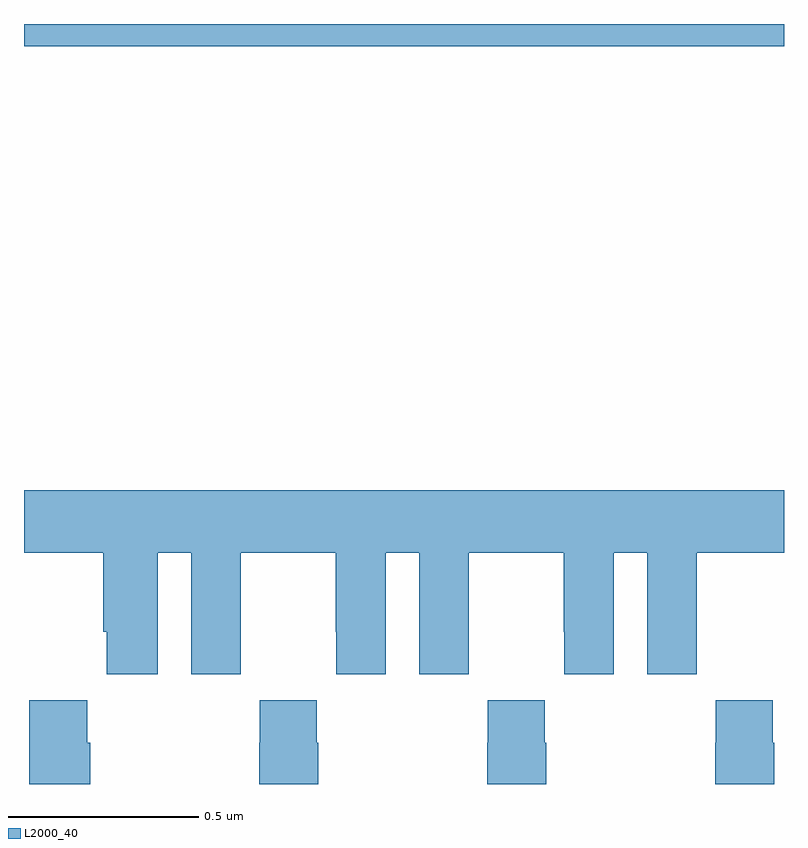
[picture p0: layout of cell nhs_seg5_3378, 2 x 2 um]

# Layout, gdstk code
import gdstk
lib = gdstk.Library(unit=1e-6, precision=1e-09)
def R(c, l, rs):  # rectangles x0, y0, x1, y1
    for r in rs: c.add(gdstk.rectangle(r[:2], r[2:], *l))
def P(c, l, *ps):  # polygons
    for p in ps: c.add(gdstk.Polygon(p, *l))
L2000_40 = (2000, 40)

nhs_seg5_3378 = lib.new_cell('nhs_seg5_3378')
R(nhs_seg5_3378, L2000_40, [(156,876.74,158,876.799)])
P(nhs_seg5_3378, L2000_40, [(156.352,875.408),(156.44,875.408),(156.44,875.088),(156.57,875.088),(156.57,875.2),(156.571,875.2),(156.571,875.408),(156.821,875.408),(156.821,875.2),(156.822,875.2),(156.822,875.088),(156.952,875.088),(156.952,875.408),(157.04,875.408),(157.04,875.088),(157.17,875.088),(157.17,875.2),(157.171,875.2),(157.171,875.408),(157.421,875.408),(157.421,875.2),(157.422,875.2),(157.422,875.088),(157.552,875.088),(157.552,875.408),(157.64,875.408),(157.64,875.088),(157.77,875.088),(157.77,875.2),(157.771,875.2),(157.771,875.408),(158,875.408),(158,875.572),(156,875.572),(156,875.408),(156.209,875.408),(156.209,875.2),(156.218,875.2),(156.218,875.088),(156.352,875.088)],
  [(157.374,874.907),(157.371,874.907),(157.371,875.02),(157.221,875.02),(157.221,874.907),(157.219,874.907),(157.219,874.799),(157.374,874.799)],
  [(156.774,874.907),(156.771,874.907),(156.771,875.02),(156.621,875.02),(156.621,874.907),(156.619,874.907),(156.619,874.799),(156.774,874.799)],
  [(156.174,874.907),(156.167,874.907),(156.167,875.02),(156.014,875.02),(156.014,874.799),(156.174,874.799)],
  [(157.974,874.907),(157.971,874.907),(157.971,875.02),(157.821,875.02),(157.821,874.907),(157.819,874.907),(157.819,874.799),(157.974,874.799)])

lib.write_gds('nhs_seg5_3378.gds')
